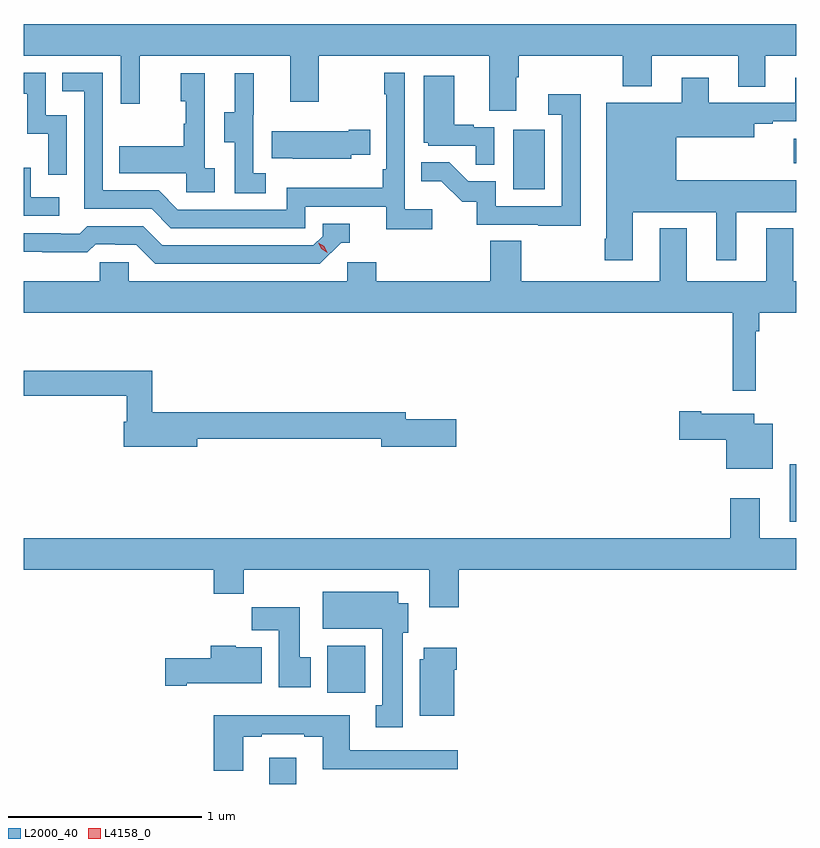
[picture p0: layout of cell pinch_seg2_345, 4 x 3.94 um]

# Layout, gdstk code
import gdstk
lib = gdstk.Library(unit=1e-6, precision=1e-09)
def R(c, l, rs):  # rectangles x0, y0, x1, y1
    for r in rs: c.add(gdstk.rectangle(r[:2], r[2:], *l))
def P(c, l, *ps):  # polygons
    for p in ps: c.add(gdstk.Polygon(p, *l))
L2000_40 = (2000, 40)
L4158_0 = (4158, 0)

pinch_seg2_345 = lib.new_cell('pinch_seg2_345')
R(pinch_seg2_345, L2000_40, [(973.955,642.531,974.095,642.667), (974.255,643.004,974.452,643.246), (976.652,643.89,976.684,644.187), (975.218,645.612,975.382,645.919), (976.671,645.746,976.684,645.874)])
P(pinch_seg2_345, L2000_40, [(972.684,646.304),(973.185,646.304),(973.185,646.056),(973.283,646.056),(973.283,646.304),(974.063,646.304),(974.063,646.065),(974.211,646.065),(974.211,646.304),(975.095,646.304),(975.095,646.018),(975.235,646.018),(975.235,646.192),(975.248,646.192),(975.248,646.304),(975.785,646.304),(975.785,646.145),(975.937,646.145),(975.937,646.304),(976.385,646.304),(976.385,646.144),(976.525,646.144),(976.525,646.304),(976.684,646.304),(976.684,646.468),(972.684,646.468)],
  [(974.8,645.508),(974.658,645.508),(974.658,646.216),(974.55,646.216),(974.55,646.103),(974.562,646.103),(974.562,645.715),(974.542,645.715),(974.542,645.619),(974.046,645.619),(974.046,645.507),(973.482,645.507),(973.383,645.606),(973.092,645.606),(973.092,646.215),(972.883,646.215),(972.883,646.119),(972.996,646.119),(972.996,645.51),(973.346,645.51),(973.445,645.411),(974.142,645.411),(974.142,645.522),(974.561,645.522),(974.561,645.406),(974.8,645.406)],
  [(972.906,645.996),(972.798,645.996),(972.798,646.215),(972.684,646.215),(972.684,646.107),(972.701,646.107),(972.701,645.899),(972.81,645.899),(972.81,645.687),(972.906,645.687)],
  [(973.936,645.695),(973.872,645.695),(973.872,645.999),(973.874,645.999),(973.874,646.213),(973.775,646.213),(973.775,646.011),(973.721,646.011),(973.721,645.856),(973.776,645.856),(973.776,645.592),(973.936,645.592)],
  [(973.672,645.722),(973.62,645.722),(973.62,646.213),(973.496,646.213),(973.496,646.068),(973.522,646.068),(973.522,645.95),(973.512,645.95),(973.512,645.835),(973.177,645.835),(973.177,645.695),(973.524,645.695),(973.524,645.597),(973.672,645.597)],
  [(975.12,645.933),(975.014,645.933),(975.014,645.946),(974.914,645.946),(974.914,646.201),(974.756,646.201),(974.756,645.852),(974.778,645.852),(974.778,645.837),(975.025,645.837),(975.025,645.739),(975.12,645.739)],
  [(975.838,645.494),(976.271,645.494),(976.271,645.243),(976.375,645.243),(976.375,645.494),(976.684,645.494),(976.684,645.658),(976.063,645.658),(976.063,645.881),(976.468,645.881),(976.468,645.951),(976.564,645.951),(976.564,645.963),(976.684,645.963),(976.684,646.189),(976.679,646.189),(976.679,646.059),(976.231,646.059),(976.231,646.189),(976.091,646.189),(976.091,646.06),(975.701,646.06),(975.701,645.355),(975.694,645.355),(975.694,645.243),(975.838,645.243)],
  [(975.568,646.105),(975.399,646.105),(975.399,645.999),(975.471,645.999),(975.471,645.525),(975.129,645.525),(975.129,645.654),(974.985,645.654),(974.887,645.752),(974.743,645.752),(974.743,645.653),(974.847,645.653),(974.954,645.546),(975.031,645.546),(975.031,645.429),(975.349,645.429),(975.349,645.424),(975.568,645.424)],
  [(974.379,645.791),(974.477,645.791),(974.477,645.921),(974.366,645.921),(974.366,645.913),(973.969,645.913),(973.969,645.773),(974.077,645.773),(974.077,645.77),(974.379,645.77)],
  [(972.868,645.57),(972.72,645.57),(972.72,645.724),(972.684,645.724),(972.684,645.474),(972.868,645.474)],
  [(974.328,645.336),(974.371,645.336),(974.371,645.432),(974.232,645.432),(974.232,645.369),(974.184,645.321),(973.401,645.321),(973.302,645.42),(973.013,645.42),(972.974,645.381),(972.875,645.381),(972.875,645.384),(972.684,645.384),(972.684,645.287),(972.78,645.287),(972.78,645.285),(973.013,645.285),(973.055,645.327),(973.158,645.327),(973.158,645.324),(973.265,645.324),(973.364,645.225),(974.217,645.225)],
  [(976.476,644.876),(976.493,644.876),(976.493,644.972),(976.684,644.972),(976.684,645.136),(976.669,645.136),(976.669,645.409),(976.529,645.409),(976.529,645.136),(976.117,645.136),(976.117,645.409),(975.977,645.409),(975.977,645.136),(975.261,645.136),(975.261,645.344),(975.101,645.344),(975.101,645.136),(974.51,645.136),(974.51,645.234),(974.358,645.234),(974.358,645.136),(973.227,645.136),(973.227,645.234),(973.077,645.234),(973.077,645.136),(972.684,645.136),(972.684,644.972),(976.357,644.972),(976.357,644.568),(976.476,644.568)],
  [(973.582,644.32),(974.534,644.32),(974.534,644.278),(974.923,644.278),(974.923,644.42),(974.662,644.42),(974.662,644.456),(973.349,644.456),(973.349,644.671),(972.684,644.671),(972.684,644.542),(973.217,644.542),(973.217,644.407),(973.202,644.407),(973.202,644.278),(973.582,644.278)],
  [(976.564,644.398),(976.468,644.398),(976.468,644.449),(976.192,644.449),(976.192,644.462),(976.08,644.462),(976.08,644.315),(976.322,644.315),(976.322,644.165),(976.564,644.165)],
  [(974.936,643.64),(976.684,643.64),(976.684,643.804),(976.495,643.804),(976.495,644.011),(976.343,644.011),(976.343,643.804),(972.684,643.804),(972.684,643.64),(973.667,643.64),(973.667,643.516),(973.823,643.516),(973.823,643.64),(974.783,643.64),(974.783,643.446),(974.936,643.446)],
  [(974.647,643.314),(974.674,643.314),(974.674,643.468),(974.623,643.468),(974.623,643.528),(974.231,643.528),(974.231,643.334),(974.54,643.334),(974.54,642.938),(974.507,642.938),(974.507,642.825),(974.647,642.825)],
  [(974.17,643.188),(974.113,643.188),(974.113,643.446),(973.864,643.446),(973.864,643.328),(974.003,643.328),(974.003,643.032),(974.17,643.032)],
  [(973.528,643.052),(973.915,643.052),(973.915,643.24),(973.782,643.24),(973.782,643.246),(973.652,643.246),(973.652,643.182),(973.416,643.182),(973.416,643.04),(973.528,643.04)],
  [(974.914,643.124),(974.927,643.124),(974.927,643.237),(974.756,643.237),(974.756,643.176),(974.735,643.176),(974.735,642.884),(974.914,642.884)],
  [(973.819,642.777),(973.915,642.777),(973.915,642.789),(974.135,642.789),(974.135,642.777),(974.231,642.777),(974.231,642.608),(974.932,642.608),(974.932,642.705),(974.371,642.705),(974.371,642.886),(973.667,642.886),(973.667,642.6),(973.819,642.6)])
P(pinch_seg2_345, L4158_0, [(974.255,645.284),(974.225,645.303),(974.209,645.335),(974.209,645.335),(974.209,645.335),(974.239,645.316),(974.256,645.284),(974.256,645.284)])

lib.write_gds('pinch_seg2_345.gds')
